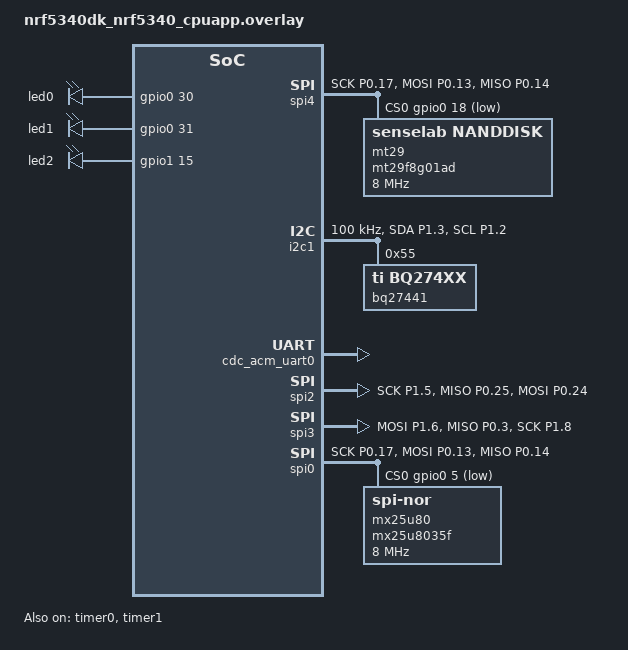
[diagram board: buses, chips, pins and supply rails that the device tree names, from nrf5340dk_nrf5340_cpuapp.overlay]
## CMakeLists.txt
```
# SPDX-License-Identifier: Apache-2.0

# This is a general purpose project created from MotionSenseHRV to be used for data collection.

# Ohio State SENSE LAB
cmake_minimum_required(VERSION 3.20.0)

# Preserve direct (non-sysbuild) configuration as well. Sysbuild receives the
# same repository board root from sysbuild/CMakeLists.txt before child images
# are configured.
list(APPEND BOARD_ROOT "${CMAKE_CURRENT_SOURCE_DIR}/..")

list(APPEND ZEPHYR_EXTRA_MODULES "${CMAKE_CURRENT_SOURCE_DIR}/../shared")


find_package(Zephyr REQUIRED HINTS $ENV{ZEPHYR_BASE})
project(PPGv2)

preprocess_pm_yml(
	"${CMAKE_CURRENT_SOURCE_DIR}/pm.yml"
	"${CMAKE_CURRENT_BINARY_DIR}/pm.yml.msense_fatal_retention"
)

include("${ZEPHYR_MSENSE_SHARED_MODULE_DIR}/cmake/msense_git_metadata.cmake")
msense_add_git_metadata("${CMAKE_CURRENT_SOURCE_DIR}")

include(CTest)
if(BUILD_TESTING)
	add_test(
		NAME msense_storage_geometry
		COMMAND ${CMAKE_COMMAND}
			"-DMSENSE_SOURCE_ROOT=${CMAKE_CURRENT_SOURCE_DIR}/.."
			-P "${CMAKE_CURRENT_SOURCE_DIR}/../shared/tests/cmake/test_storage_geometry.cmake"
	)
	add_test(
		NAME msense_sensor_stream_geometry
		COMMAND ${CMAKE_COMMAND}
			"-DMSENSE_SOURCE_ROOT=${CMAKE_CURRENT_SOURCE_DIR}/.."
			-P "${CMAKE_CURRENT_SOURCE_DIR}/../shared/tests/cmake/test_sensor_stream_geometry.cmake"
	)
	add_test(
		NAME msense_phase4_contracts
		COMMAND ${CMAKE_COMMAND}
			"-DMSENSE_SOURCE_ROOT=${CMAKE_CURRENT_SOURCE_DIR}/.."
			"-DMSENSE_PRODUCT=PPGv2"
			"-DMSENSE_APP_BUILD_DIR=${CMAKE_CURRENT_BINARY_DIR}"
			-P "${CMAKE_CURRENT_SOURCE_DIR}/../shared/tests/cmake/test_phase4_contracts.cmake"
	)
endif()

set(CMAKE_OBJECT_PATH_MAX 380)
if((NOT CONFIG_DISK_DRIVER_FLASH) AND
   (NOT CONFIG_DISK_DRIVER_RAM) AND
   (NOT CONFIG_DISK_DRIVER_SDMMC))
	message(WARNING "No disk access settings detected." )
endif()
target_compile_options(app PRIVATE -Wno-unused-function)

target_include_directories(app PRIVATE
	"${ZEPHYR_MSENSE_SHARED_MODULE_DIR}/include"
	"${ZEPHYR_MSENSE_SHARED_MODULE_DIR}/drivers/nand"
	"${ZEPHYR_MSENSE_SHARED_MODULE_DIR}/drivers/nor"
)

target_sources(app PRIVATE
	src/BLEService.c
	src/batterymonitordt.c
	src/filesystemlogging_policy.c
	src/imuSensor.c
	src/main.c
	src/ppgSensor.c
	src/zephyrfilesystem.c
	../shared/fatal_retention.c
)

#if(CONFIG_BUILD_WITH_TFM)
#  target_include_directories(app PRIVATE
#    $<TARGET_PROPERTY:tfm,TFM_BINARY_DIR>/install/interface/include
#  )
#endif()
```

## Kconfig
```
# Copyright (c) 2019-2020 Nordic Semiconductor ASA
# SPDX-License-Identifier: Apache-2.0

config APP_WIPE_STORAGE
	bool "Option to clear the flash area before mounting"
	help
	  Use this to force an existing file system to be created.

choice
	prompt "Storage and file system type used by the application"
	default APP_MSC_STORAGE_NONE
	help
	  Specify the type of storage and file system.

config APP_MSC_STORAGE_NONE
	bool "Use RAM disk as block device"
	imply DISK_DRIVER_RAM

config APP_MSC_STORAGE_RAM
	bool "Use RAM disk and FAT file system"
	imply DISK_DRIVER_RAM
	imply FILE_SYSTEM
	imply FAT_FILESYSTEM_ELM

config APP_MSC_STORAGE_FLASH_FATFS
	bool "Use FLASH disk and FAT file system"
	imply DISK_DRIVER_FLASH
	imply FILE_SYSTEM
	imply FAT_FILESYSTEM_ELM

config APP_MSC_STORAGE_FLASH_LITTLEFS
	bool "Use FLASH disk and LittleFS"
	imply DISK_DRIVER_FLASH
	imply FILE_SYSTEM
	imply FILE_SYSTEM_LITTLEFS

config APP_MSC_STORAGE_SDCARD
	bool "Use SDHC and FAT file system"
	imply DISK_DRIVER_SDMMC
	imply FILE_SYSTEM
	imply FAT_FILESYSTEM_ELM

endchoice


config MASS_STORAGE_DISK_NAME
	default "MX25R64" if DISK_DRIVER_FLASH
	default "RAM" if DISK_DRIVER_RAM
	default "SD" if DISK_DRIVER_SDMMC

if DISK_DRIVER_FLASH

config FLASH_MAP
	default y

config FLASH_PAGE_LAYOUT
	default y

config FLASH_LOG_LEVEL
	default 3

if NORDIC_QSPI_NOR

config NORDIC_QSPI_NOR_FLASH_LAYOUT_PAGE_SIZE
	default 4096

endif # NORDIC_QSPI_NOR

endif # DISK_DRIVER_FLASH

config MSENSE3_BLUETOOTH_DATA_UPDATES
	bool "Use MotionSenseHRV3Updates"
	default n
	help 
		Enables the Previous MSense3 mode of data collection, which starts collection as soon as the device connects to usb
		and sends data all through bluetooth
		


menuconfig COLLECTION_REQUIRES_DATE_ID
	bool "Allows sensor collection only if the date time and id characteristics have been filled out by the central."
	default n


config USB_ALWAYS_ON
	bool "whether the usb mass storage driver is on during bluetooth collection"
	default n
	help
		Normally, when data collection starts the USB module turns off, preventing the user from being able to read the drive 
		while data collection is taking place. This KConfig disables this, allowing users to always see logs

config USB_WRITABLE
	bool "whether one can write or modify files via USB"
	default n
	help 
		If the device is plugged in via USB and this KConfig is not set, Users will not be able to create or write new files
		(they can still read them).
		for this to truly work, we must be using a file system driver that supports reading and writing, 
		like flash area (NOR) or dhara (NAND)

config MSENSE_USB_SECURITY
	bool "Configures USB security mode, which requires a password in order to enable to usb behavior. Not Currently Implemented."
	default n

config LOG_BACKEND_FS_BUFFER
    bool "file buffered log backend"
    depends on LOG
    select LOG_OUTPUT
    help
      When enabled, the double buffered filesystem backend (normally for ppg and accel) will be used for logging.


config LOG_LEVEL_IMU_COLLECTION
	int "level at which data from imu is printed in logs"
	default 3

config LOG_LEVEL_PPG_COLLECTION
	int "level at which data from ppg is printed in logs"
	default 3

source "Kconfig.zephyr"
```

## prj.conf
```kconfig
#CONFIG_NCS_SAMPLES_DEFAULTS=y

CONFIG_STDOUT_CONSOLE=y

# deprecated:
#CONFIG_CPLUSPLUS=y
#CONFIG_STD_CPP11=y
#CONFIG_NEWLIB_LIBC=y
#CONFIG_LIB_CPLUSPLUS=y

#CONFIG_DEBUG=n
CONFIG_DEBUG_OPTIMIZATIONS=n
#CONFIG_SIZE_OPTIMIZATIONS=y
#CONFIG_SPEED_OPTIMIZATIONS=y

# These KConfigs will dump the entire core into the logs. Useful for debugging a crash.
#CONFIG_DEBUG_COREDUMP=y
#CONFIG_DEBUG_COREDUMP_BACKEND_LOGGING=y
CONFIG_DEBUG_INFO=y
CONFIG_EXCEPTION_STACK_TRACE=y
CONFIG_RESET_ON_FATAL_ERROR=y

#Log config
CONFIG_LOG=y
CONFIG_LOG_DEFAULT_LEVEL=2
# LOG_MODE_MIMIMAL Processes logs in the thread that they are in.
CONFIG_LOG_MODE_MINIMAL=n
#CONFIG_LOG_MODE_DEFERRED=n
#CONFIG_LOG_MODE_IMMEDIATE=n
# this makes prink messages go through the LOG system.
CONFIG_LOG_PRINTK=y
# typically logging is seperate from printk, so this just let's printk output go to console.
CONFIG_PRINTK=y
CONFIG_LOG_MAX_LEVEL=4
# Additional Logging Settings
# this makes the logs have color according to their condition in the serial monitor or terminal.
# so, errors are red, and warnings are yellow.
# in the filesystem, you will need to have an ascii color text processor, otherwise you will see unknown characters and no colors.
CONFIG_LOG_BACKEND_SHOW_COLOR=n
# if we using the deffered log proessing, we have these options avalible:
# LOG_MODE_DEFFERED auto turns this on. deffered mode makes the logs go to a seperate thread instead, which we currently use.
CONFIG_LOG_PROCESS_THREAD=y
#CONFIG_LOG_PROCESS_THREAD_CUSTOM_PRIORITY=
# we need this since our usb takes a few seconds to initialize, and so we miss messages if we don't do a late log startup.
CONFIG_LOG_PROCESS_THREAD_STARTUP_DELAY_MS=8000
#CONFIG_LOG_PROCESS_TRIGGER_THRESHOLD=0
# THREAD_SLEEP_MS is how long the logging thread will periodically sleep after processing messages. 
CONFIG_LOG_PROCESS_THREAD_SLEEP_MS=4000
CONFIG_LOG_PROCESS_THREAD_STACK_SIZE=4096
# Reserve 16 KiB for logging and 2 KiB each for USB CDC RX and TX.
CONFIG_LOG_BUFFER_SIZE=16384
CONFIG_USB_CDC_ACM_RINGBUF_SIZE=2048
CONFIG_SEGGER_RTT_BUFFER_SIZE_UP=4096

# Custom Config we created to allow the usb to remain on even when data is collecting, so that we can see the logs. Without this we can't 
#see logs through USB.
CONFIG_USB_ALWAYS_ON=y

CONFIG_NRFX_RTC0=y

# The thread analyser is a cool logging tool that shows how full stacks are for running threads. It can be used to detect stack overflow errors.
CONFIG_THREAD_ANALYZER=y
CONFIG_THREAD_ANALYZER_USE_LOG=y
CONFIG_THREAD_ANALYZER_AUTO=y
CONFIG_THREAD_ANALYZER_AUTO_INTERVAL=10
CONFIG_THREAD_NAME=y
CONFIG_THREAD_MONITOR=y

# when working with the MSense Devices, the only debugging tool we have is the SEGGER_RTT and USB debug output. 
# We have a USB, but we have to set it up via CDC UART (CDC is a usb communication protocol) on device tree
# at the moment, it appears Segger RTT is required even for UART Console output.
CONFIG_USE_SEGGER_RTT=y
# LOG_BACKEND makes the logging avalible, while the CONSOLE option makes command output
CONFIG_LOG_BACKEND_RTT=y
CONFIG_RTT_CONSOLE=n
# Shell also allows commands to be sent
CONFIG_SHELL=n

#Outputs log through usb
CONFIG_LOG_BACKEND_UART=y
# same here, UART_CONSOLE allows commands to be sent while LOG_BACKEND_UART allows log messages to go out.
CONFIG_UART_CONSOLE=y

#CONFIG_RAM_CONSOLE=n

#CONFIG_LOG_BACKEND_FS=n
#CONFIG_LOG_BACKEND_FS_OUTPUT_CUSTOM=y

# Outputs log through USB
CONFIG_LOG_BACKEND_BLE=n
CONFIG_MSENSE_SENSOR_STREAM=y
CONFIG_MSENSE_SENSOR_STREAM_INGRESS_SLOTS=32
CONFIG_MSENSE_SENSOR_STREAM_INGRESS_RECORD_BYTES=16
# Custom MSense File Uploading that uses the double buffer system (zephyrfilesystem.c) to output
CONFIG_LOG_BACKEND_FS_BUFFER=y

# Our MSense boards don't have a DCDC on them. This is necessary for the boards to function, or else they will brick!
#CONFIG_BOARD_ENABLE_DCDC_APP=n
#CONFIG_BOARD_ENABLE_DCDC_NET=n

# Oscillator capacitor and bypass configuration is physical-board ownership.
# boards/senselab/ppgv2 supplies it to the application, MCUboot, and HCI IPC
# images through the custom board defconfigs.


#Gpio Config
CONFIG_GPIO=y

# SPI Config
CONFIG_SPI=y
# we don't have any qspi periperals at the moment, everything is spi.
#CONFIG_NRFX_QSPI=y

#I2C config
CONFIG_I2C=y

# Generic Sensor Drivers that includes the battery monitor sensor.
CONFIG_SENSOR=y



# CMSIS config, which is a DSP and Math library
CONFIG_CMSIS_DSP=y
CONFIG_CMSIS_DSP_BASICMATH=y
CONFIG_CMSIS_DSP_COMPLEXMATH=n
CONFIG_CMSIS_DSP_CONTROLLER=n
CONFIG_CMSIS_DSP_DISTANCE=n
CONFIG_CMSIS_DSP_FASTMATH=y
CONFIG_CMSIS_DSP_FILTERING=y
CONFIG_CMSIS_DSP_MATRIX=y
CONFIG_CMSIS_DSP_STATISTICS=y
CONFIG_CMSIS_DSP_TRANSFORM=n
CONFIG_CMSIS_DSP_SUPPORT=y

# timer config
CONFIG_NRFX_TIMER0=y
CONFIG_NRFX_TIMER1=y

#FPU config
CONFIG_FPU=y
CONFIG_FP_HARDABI=y


# The PPGv2 board supplies its own gpio-leds nodes and has no user button.



# Enable bluetooth and bonding
CONFIG_BT=y

#CONFIG_BT_BONDABLE=y
#CONFIG_BT_BONDING_REQUIRED=y


CONFIG_BT_DEVICE_APPEARANCE=833

CONFIG_BT_MAX_CONN=1



CONFIG_BT_PERIPHERAL=y
#CONFIG_BT_GAP_PERIPHERAL_PREF_PARAMS=y
# in BLE the host typically sets the minimum and maximum connection interval with which packets must be sent. 
# however, the client can still request preferred parameters and the host can decide if it wants to accept them.
CONFIG_BT_PERIPHERAL_PREF_MAX_INT=48
CONFIG_BT_PERIPHERAL_PREF_MIN_INT=24
CONFIG_BT_PERIPHERAL_PREF_LATENCY=3
# Units are 10 ms: 800 = 8 s, compliant with current Apple 6-18 s guidance (ADG section 55.6).
CONFIG_BT_PERIPHERAL_PREF_TIMEOUT=800
CONFIG_BT_DEVICE_NAME="MSense4PPG-"
CONFIG_BT_DEVICE_NAME_DYNAMIC=y
CONFIG_BT_DEVICE_NAME_MAX=16
CONFIG_BT_DEVICE_NAME_GATT_WRITABLE=n
CONFIG_HWINFO=y
CONFIG_CRC=y



#CONFIG_BT_CTLR=y
#CONFIG_BT_CTLR_TX_PWR_ANTENNA=-8
#CONFIG_BT_CTLR_TX_PWR_MINUS_40=y

# for now, we don't use security, but we can re-enable if we want it.
CONFIG_BT_SMP=n

# Enable device information service for bluetooth
CONFIG_BT_DIS=y
CONFIG_BT_DIS_MANUF="SenseLab"
CONFIG_BT_DIS_PNP=n
CONFIG_BT_DIS_MODEL="5.1.4 UProd"
CONFIG_BT_DIS_SETTINGS=n
CONFIG_BT_MAX_PAIRED=1

# Enable Battery service settings
CONFIG_BT_BAS=y



 

# I belive we do this because the flash reset function has a lot of stack usage.
CONFIG_BT_RX_STACK_SIZE=8192



#DFU/FOTA settings
CONFIG_BOOTLOADER_MCUBOOT=y

CONFIG_NCS_SAMPLE_MCUMGR_BT_OTA_DFU=y
#CONFIG_MCUBOOT_GENERATE_CONFIRMED_IMAGE=y


#CONFIG_MCUMGR_LOG_LEVEL_DBG=n
#CONFIG_MCUMGR_SMP_BT_AUTHEN=n

# For saving settings of bluetooth and other variables, turned off as there are currently issues getting it to work
#CONFIG_BT_SETTINGS=y
#CONFIG_SETTINGS_RUNTIME=y
#CONFIG_SETTINGS_NVS=y
#CONFIG_NVS=y

#CONFIG_SETTINGS_NONE=y

# not sure what this is
#CONFIG_MPU_ALLOW_FLASH_WRITE=y



CONFIG_TEST_RANDOM_GENERATOR=y
CONFIG_TIMER_RANDOM_GENERATOR=y


# Flash Driver Config
# CRC library, used to sanity check the file table stored on the NOR
CONFIG_CRC=y
CONFIG_SPI_NOR=y
CONFIG_FLASH=y
# QSPI Driver for QSPI Nor Flash. No longer used as we use NAND for storage.
CONFIG_NORDIC_QSPI_NOR=n
CONFIG_FLASH_MAP=y
CONFIG_FLASH_PAGE_LAYOUT=y
CONFIG_FLASH_LOG_LEVEL_INF=y
#CONFIG_SPI_NOR_FLASH_LAYOUT_PAGE_SIZE=4096

# Partition Manager Config

CONFIG_PM_EXTERNAL_FLASH_MCUBOOT_SECONDARY=n

# Disk Driver Config
CONFIG_DISK_DRIVER_FLASH=n
CONFIG_DISK_DRIVER_RAM=n
CONFIG_DISK_DRIVER_RAW_NAND=y
CONFIG_DISK_DRIVER_DHARA=n

CONFIG_RAW_NAND_BAD_SECTOR_SAVING=n

# File System Config
CONFIG_FILE_SYSTEM=y
# needed because of our BT DFU external flash image which forces us to use partition manager.
CONFIG_PM_OVERRIDE_EXTERNAL_DRIVER_CHECK=y
CONFIG_MASS_STORAGE_DISK_NAME="SD"
#CONFIG_FILE_SYSTEM_LITTLEFS=y
# ELM Chan's fat filesystem library
CONFIG_FAT_FILESYSTEM_ELM=y
# we implement this dynamically by remounting the file system as read only.
CONFIG_FS_FATFS_READ_ONLY=n

# below config is necessary because this determines the buffer fatfs internally uses to store reads which we do at a size of 4096
CONFIG_FS_FATFS_MAX_SS=4096
CONFIG_FS_FATFS_EXFAT=n
CONFIG_FS_FATFS_MAX_ROOT_ENTRIES=4096
CONFIG_FS_FATFS_LFN=y

# we no longer use little fs since there is no built in computer file system support on USB mass.
#CONFIG_FS_LITTLEFS_CACHE_SIZE=128
#CONFIG_FS_LITTLEFS_READ_SIZE=16
#CONFIG_FS_LITTLEFS_PROG_SIZE=16




#USB related configs
CONFIG_USB_DEVICE_STACK=y
CONFIG_USB_DEVICE_PRODUCT="MSense4 USB Mass"
CONFIG_USB_DEVICE_PID=0x0008
CONFIG_USB_MASS_STORAGE=y

CONFIG_USB_MAX_POWER=100
# Keep USB control-transfer chatter out of normal operation logs.
CONFIG_USB_DEVICE_LOG_LEVEL_ERR=y
# this log handles where the usb mass throws errors.
CONFIG_USB_MASS_STORAGE_LOG_LEVEL_ERR=y

CONFIG_USB_DEVICE_INITIALIZE_AT_BOOT=n
CONFIG_MASS_STORAGE_STACK_SIZE=4096


# Previous method of data gathering, where data from sensors is sent through bluetooth instead of the file system.
CONFIG_MSENSE3_BLUETOOTH_DATA_UPDATES=n

CONFIG_MSENSE_USB_SECURITY=n

# IMU and PPG logs
CONFIG_LOG_LEVEL_IMU_COLLECTION=3
CONFIG_LOG_LEVEL_PPG_COLLECTION=3


# General System Memory and stack Configs
CONFIG_SYSTEM_WORKQUEUE_STACK_SIZE=20192
CONFIG_SYSTEM_WORKQUEUE_PRIORITY=-5
#CONFIG_SYSTEM_WORKQUEUE_NO_YIELD=y

CONFIG_HEAP_MEM_POOL_SIZE=5384
CONFIG_MAIN_STACK_SIZE=20192
```

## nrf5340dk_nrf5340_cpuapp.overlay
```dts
// press Ctrl+Space to bring up the completion menu and view the available nodes.

// You can also use the buttons in the sidebar to perform actions on nodes.
// Actions currently available include:

// * Enabling / disabling the node
// * Adding the bus to a bus
// * Removing the node
// * Connecting ADC channels

// For more help, browse the DeviceTree documentation at https://docs.zephyrproject.org/latest/guides/dts/index.html
// You can also visit the nRF DeviceTree extension documentation at https://nrfconnect.github.io/vscode-nrf-connect/devicetree/nrfdevicetree.html
//#include <zephyr/dt-bindings/regulator/nrf5x.h>
/* Force the main regulator (VREGMAIN) to use LDO mode */
/*
 * &reg1 {
 * regulator-initial-mode = <NRF5X_REG_MODE_LDO>;
 * };
 * &reg0 {
 * regulator-initial-mode = <NRF5X_REG_MODE_LDO>;
 * };
 */
/* Begin dk trim section, that removes all dev kit specific nodes. */

/* Since this code is executed in the bootloader phase, we actually need to enable it (copy and past
e this exact code) in MCUBoot as well. See sysbuild/mcuboot.overlay for more details. */
&vregmain {
	regulator-initial-mode = <NRF5X_REG_MODE_LDO>;
};

&vregradio {
	regulator-initial-mode = <NRF5X_REG_MODE_LDO>;
};

&vregh {
	status = "disabled";
};


&uicr {
    nfct-pins-as-gpios;
};



&spi1 {
	status = "disabled";
};

&spi4 {
	status = "disabled";
};

&qspi {
	status = "disabled";
};

&uart0 {
	status = "okay";
};

&i2c1 {
	status = "disabled";
};

&pwm0 {
	status = "disabled";
};

&led0 {
	status = "okay";
	gpios = <&gpio0 30 GPIO_ACTIVE_HIGH>;
};

&led1 {
	status = "okay";
	gpios = <&gpio0 31 GPIO_ACTIVE_HIGH>;
};

&led2 {
	status = "okay";
	gpios = <&gpio1 15 GPIO_ACTIVE_HIGH>;
};

&led3 {
	status = "disabled";
};

&button0 {
	status = "disabled";
};

&button1 {
	status = "disabled";
};

&button2 {
	status = "disabled";
};

&button3 {
	status = "disabled";
};

&gpio_fwd {
	status = "okay";
};

/* End dev kit trim section */

&timer0 {
	status = "okay";
};

&timer1 {
	status = "okay";
};

&arduino_adc {
	io-channel-map = <0 &adc 0>, <1 &adc 1>, <2 &adc 2>, <3 &adc 3>, <4 &adc 4>, <5 &adc 5>;
};

/ {
	aliases {
		customspi = &spi1;
		spi-flash0 = &mt29;
		spi-flash1 = &mx25u80;
	};
};

/ {
	chosen {

		//nordic,pm-ext-flash = &mt29;
		zephyr,console = &cdc_acm_uart0;
		zephyr,shell-uart = &cdc_acm_uart0;
	};
};
///delete-node/ &storage_partition;

//uart cannot also be in operation with spi0, however, this means we have to use segger RTT, because uart is used for console output
&uart0 {
	status = "disabled";
};

&zephyr_udc0 {
	cdc_acm_uart0: cdc_acm_uart0 {
		compatible = "zephyr,cdc-acm-uart";
	};
};

&spi2 {
	compatible = "nordic,nrf-spim";
	status = "okay";
	cs-gpios = <&gpio0 26 GPIO_ACTIVE_LOW>;
	pinctrl-0 = <&spi1_default>;
	pinctrl-1 = <&spi1_sleep>;
	pinctrl-names = "default", "sleep";
};

// We need to disable i2c1, since we are already using spi1 and it is no longer needed (can't have 2 devices on the same unit).
&i2c1 {
	compatible = "nordic,nrf-twim";
	status = "okay";

	/* The bq27441-G1 requires 1-byte writes above 100 kHz. */
	clock-frequency = <I2C_BITRATE_STANDARD>;

	pinctrl-0 = <&battery_default>;
	pinctrl-1 = <&battery_sleep>;
	pinctrl-names = "default", "sleep";

	bq27441@55 {
		compatible = "ti,bq274xx";
		reg = <0x55>;
		design-voltage = <3700>;
		design-capacity = <300>;
		/* Above the bq25060's 25.2 mA worst-case termination threshold with a 5.9-kOhm ISET resistor. */
		taper-current = <30>;
		terminate-voltage = <3000>;
		chemistry-id = <0x0128>; /* bq27441-G1A, LiCoO2, 4.2-V maximum charge */
	};
};
/*
 * &i2c0 {
 * status = "okay";
 * compatible = "nordic,nrf-twim";
 * pinctrl-0 = < &i2c1_default>;
 * pinctrl-1 = <&i2c1_sleep>;
 * pinctrl-names = "default", "sleep";
 * };
 */

&spi3 {
	compatible = "nordic,nrf-spim";
	status = "okay";
	cs-gpios = <&gpio1 9 GPIO_ACTIVE_LOW>;
	pinctrl-0 = <&ppg_default>;
	pinctrl-1 = <&ppg_sleep>;
	pinctrl-names = "default", "sleep";
};
//External Flash, MX25 NOR

&spi0 {
	status = "okay";
	pinctrl-0 = <&spi_flash_default>;
	pinctrl-1 = <&spi_flash_sleep>;
	pinctrl-names = "default", "sleep";
	cs-gpios = <&gpio0 5 GPIO_ACTIVE_LOW>;

	mx25u80: mx25u8035f@0 {
		compatible = "jedec,spi-nor";
		// size needs to be in bits for nor
		//size = <1073725440>;
		size = <8388608>;
		reg = <0>;
		spi-max-frequency = <8000000>;
		jedec-id = [c2 25 34];
		status = "okay";
	};
};
// External Flash, MT29 NAND

&spi4 {
	status = "okay";
	pinctrl-0 = <&spi_flash_default>;
	pinctrl-1 = <&spi_flash_sleep>;
	pinctrl-names = "default", "sleep";
	// You will also need to set these pins in the spi_nand.c too
	cs-gpios = <&gpio0 18 GPIO_ACTIVE_LOW>, <&gpio0 4 GPIO_ACTIVE_LOW>,
		   <&gpio0 21 GPIO_ACTIVE_LOW>, <&gpio0 19 GPIO_ACTIVE_LOW>;

	mt29: mt29f8g01ad@0 {
		compatible = "senselab,nanddisk";
		// size parameter needs to be in bytes
		// 4294901760 bytes is aproximately 4 GB. Updated from 2147450880 bytes (1.99 GB)
		size = <4294901760>;
		individual-size = <1073725440>;
		num-flashchips = <4>;
		reg = <0>;
		spi-max-frequency = <8000000>;
		jedec-id = [ff 2c 47];
		status = "okay";
	};
};
/*
 * &qspi {
 * status = "okay";
 * pinctrl-0 = <&qspi_default>;
 * pinctrl-1 = <&qspi_sleep>;
 * pinctrl-names = "default", "sleep";
 * mx66u: mx66u2g45g@0 {
 * compatible = "nordic,qspi-nor";
 * //compatible = "vnd,customflash";
 * //compatible = "senselab,qspinor";
 * reg = <0>;
 * //MX25R64 supports only pp and pp4io
 * writeoc = "pp4io";
 * //MX25R64 supports all readoc options
 * readoc = "read4io";
 * sck-frequency = <8000000>;
 * jedec-id = [c2 25 3c];
 * sfdp-bfp = [
 * e5 20 f1 ff  ff ff ff 03  44 eb 08 6b  08 3b 04 bb
 * ee ff ff ff  ff ff 00 ff  ff ff 00 ff  0c 20 0f 52
 * 10 d8 00 ff  23 72 f5 00  82 ed 04 cc  44 83 68 44
 * 30 b0 30 b0  f7 c4 d5 5c  00 be 29 ff  f0 d0 ff ff
 * ];
 * size = <67108864>;
 * has-dpd;
 * t-enter-dpd = <10000>;
 * t-exit-dpd = <35000>;
 * };
 * };
 */

&pinctrl {
	//spi 1, imu sensor
	spi1_default: spi1_default {
		group1 {
			psels = <NRF_PSEL(SPIM_SCK, 1, 5)>,
				<NRF_PSEL(SPIM_MISO, 0, 25)>,
				<NRF_PSEL(SPIM_MOSI, 0, 24)>;
		};
	};

	spi1_sleep: spi1_sleep {
		group1 {
			psels = <NRF_PSEL(SPIM_SCK, 1, 5)>,
				<NRF_PSEL(SPIM_MISO, 0, 25)>,
				<NRF_PSEL(SPIM_MOSI, 0, 24)>;
			low-power-enable;
		};
	};

	//spi 4, ppg sensor
	ppg_default: ppg_default {
		group1 {
			psels = <NRF_PSEL(SPIM_MOSI, 1, 6)>, <NRF_PSEL(SPIM_MISO, 0, 3)>,
				<NRF_PSEL(SPIM_SCK, 1, 8)>;
		};
	};

	ppg_sleep: ppg_sleep {
		group1 {
			psels = <NRF_PSEL(SPIM_MOSI, 1, 6)>, <NRF_PSEL(SPIM_MISO, 0, 3)>,
				<NRF_PSEL(SPIM_SCK, 1, 8)>;
			low-power-enable;
		};
	};

	//battery, on i2c0
	battery_default: battery_default {
		group1 {
			psels = <NRF_PSEL(TWIM_SDA, 1, 3)>,
				<NRF_PSEL(TWIM_SCL, 1, 2)>;
		};
	};

	battery_sleep: battery_sleep {
		group1 {
			psels = <NRF_PSEL(TWIM_SDA, 1, 3)>,
				<NRF_PSEL(TWIM_SCL, 1, 2)>;
			low-power-enable;
		};
	};

	spi_flash_default: spi_flash_default {
		group1 {
			psels = <NRF_PSEL(SPIM_SCK, 0, 17)>,
				<NRF_PSEL(SPIM_MOSI, 0, 13)>,
				<NRF_PSEL(SPIM_MISO, 0, 14)>;
		};
	};

	spi_flash_sleep: spi_flash_sleep {
		group1 {
			psels = <NRF_PSEL(SPIM_SCK, 0, 17)>,
				<NRF_PSEL(SPIM_MOSI, 0, 13)>,
				<NRF_PSEL(SPIM_MISO, 0, 14)>;
			low-power-enable;
		};
	};
};
```

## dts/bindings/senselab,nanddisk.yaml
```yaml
description: |
  Zephyr MMC disk node. A binding with this compatible present within an SD
  host controller device node indicates that an SDMMC disk is attached to that
  SD bus. This binding will enable that disk to be used with the disk driver
  API and any subsystems that utilize it.

compatible: "senselab,nanddisk"

include: ["spi-device.yaml", "jedec,spi-nor-common.yaml"]

properties:
  reg:
    required: true

  jedec-id:
    required: true

  size:
    type: int
    description: |
      The size of the flash in bytes.
  
  individual-size:
    type: int
    description: |
      The number of total flashes for the multi-flash driver. Used to calculate the full size of the flash. 

  num-flashchips:
    type: int
    description: |
      How many total flashes chips are in the system. 
```

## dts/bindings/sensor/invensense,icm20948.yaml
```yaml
# SPDX-License-Identifier: Apache-2.0

description: |
  ICM-20948 SPI interface on the MotionSense PPG PCB. The retained PPGv2
  driver accesses the SPI bus directly; this binding records the hardware
  contract without enabling a competing sensor driver.

compatible: "invensense,icm20948"

include: spi-device.yaml

properties:
  int-gpios:
    type: phandle-array
    required: true
    description: ICM-20948 INT1 data-ready signal.

  fsync-gpios:
    type: phandle-array
    required: true
    description: ICM-20948 FSYNC signal driven by the host.
```

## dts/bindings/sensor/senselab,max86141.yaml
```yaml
# SPDX-License-Identifier: Apache-2.0

description: |
  MAX86141 optical sensor connected to SPI. PPGv2 retains its existing direct
  transport implementation, so this binding describes the device without
  selecting a separate Zephyr sensor driver.

compatible: "senselab,max86141"

include: spi-device.yaml
```

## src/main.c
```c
/*
 * Copyright (c) 2016 Intel Corporation
 *
 * SPDX-License-Identifier: Apache-2.0
 */

#include <zephyr/kernel.h>
#include <zephyr/devicetree.h>
#include <zephyr/drivers/gpio.h>
#include <zephyr/drivers/spi.h>
#include <zephyr/drivers/i2c.h>
#include <zephyr/drivers/sensor.h>
#include <nrfx.h>
#include <nrfx_timer.h>
#include <nrfx_uarte.h>
#include <helpers/nrfx_reset_reason.h>
#include <zephyr/logging/log.h>
#include <zephyr/usb/usb_device.h>
#include "batterymonitordt.h"
#include "ppgSensor.h"
#include "imuSensor.h"
#include "common.h"
#include "BLEService.h"
#include "msense_device_identity.h"
#include "msense_sensor_stream.h"
#include "msense_git_metadata.h"
#include "msense_fatal_retention.h"
#include "zephyrfilesystem.h"
#include "msense_msc_media.h"
#if CONFIG_DISK_DRIVER_RAW_NAND
#include "nand_disk.h"
#endif
#include <zephyr/shell/shell.h>
#include <zephyr/bluetooth/bluetooth.h>
#include <zephyr/bluetooth/hci.h>
#include <zephyr/bluetooth/uuid.h>
#include <errno.h>
#include <string.h>




LOG_MODULE_REGISTER(main);

BUILD_ASSERT(IS_ENABLED(CONFIG_USB_MASS_STORAGE),
	     "PPGv2 requires legacy USB MSC support");



/* 1000 msec = 1 sec */
#define SLEEP_TIME_MS 6000
#define BATTERY_LOG_INTERVAL_MAINTENANCE_CYCLES 4U

/* The devicetree node identifier for the "led0" alias. */
#define LED_NODE DT_ALIAS(led0)
#define LED1_NODE DT_ALIAS(led1)
#define PPG_POWER_NODE DT_ALIAS(led2) 
#define IMU_NODE DT_ALIAS(imu)
#define PPG_NODE DT_ALIAS(ppg)
#define IMU_BUS_NODE DT_ALIAS(imu_bus)
#define PPG_BUS_NODE DT_ALIAS(ppg_bus)
#define BATTERY_GAUGE_NODE DT_ALIAS(battery_gauge)
#define BATTERY_BUS_NODE DT_ALIAS(battery_bus)
#define GPIO0_NODE DT_ALIAS(gpio0)
#define GPIO1_NODE DT_ALIAS(gpio1)

// define our red and green leds
#define LED_PIN DT_GPIO_PIN(LED_NODE, gpios)
#define LED1_PIN DT_GPIO_PIN(LED1_NODE, gpios)

#define LED_FLAGS DT_GPIO_FLAGS(LED0_NODE, gpios)



#define PPG_POWER_PIN DT_GPIO_PIN(PPG_POWER_NODE, gpios)
#define PPG_POWER_FLAGS DT_GPIO_FLAGS(PPG_POWER_NODE, gpios)

const struct device* gpio0_device;
const struct device* gpio1_device;


/* SPI Definitions */


/*
------------------------------------------------------------------------------------
SPI Mode    CPOL 	CPHA 	Clock Polarity  Clock Phase Used to
                                in Idle State 	Sample and/or Shift the Data
------------------------------------------------------------------------------------
0               0         0 	Logic low 	Data sampled on rising edge and
                                                shifted out on the falling edge
1               0         1 	Logic low 	Data sampled on the falling edge and
                                                shifted out on the rising edge
2               1         1 	Logic high 	Data sampled on the falling edge and
                                                shifted out on the rising edge
3               1         0 	Logic high 	Data sampled on the rising edge and
                                                shifted out on the falling edge
-------------------------------------------------------------------------------------
*/
// SPI Mode-3 IMU
struct spi_config spi_cfg_imu =
{
    .frequency = DT_PROP(IMU_NODE, spi_max_frequency),
    .operation = SPI_WORD_SET(8) | SPI_TRANSFER_MSB |
                 SPI_MODE_CPOL | SPI_MODE_CPHA,
    .slave = DT_REG_ADDR(IMU_NODE),
    .cs = SPI_CS_CONTROL_INIT(IMU_NODE, 0),
    };


// SPI Mode-3 PPG
struct spi_config spi_cfg_ppg = {
    .frequency = DT_PROP(PPG_NODE, spi_max_frequency),
    .operation = SPI_WORD_SET(8) | SPI_TRANSFER_MSB |
                 SPI_MODE_CPOL | SPI_MODE_CPHA,
    .slave = DT_REG_ADDR(PPG_NODE),
    .cs = SPI_CS_CONTROL_INIT(PPG_NODE, 0),
};




const struct device *spi_dev_ppg, *spi_dev_imu;
const struct device *i2c_dev;





#define DIS_FW_REV_STR CONFIG_BT_DIS_FW_REV_STR
#define DIS_FW_REV_STR_LEN (sizeof(DIS_FW_REV_STR))

#define DIS_HW_REV_STR CONFIG_BT_DIS_HW_REV_STR
#define DIS_HW_REV_STR_LEN (sizeof(DIS_HW_REV_STR))

#define DIS_MANUF CONFIG_BT_DIS_MANUF
#define DIS_MANUF_LEN (sizeof(DIS_MANUF))

#define DIS_MODEL CONFIG_BT_DIS_MODEL
#define DIS_MODEL_LEN (sizeof(DIS_MODEL))


static K_SEM_DEFINE(ble_init_ok, 0, 1);

uint32_t global_counter;

#define MSENSE_PRODUCT_BLE_NAME_PREFIX "MSense4PPG-"
#define MSENSE_PRODUCT_BLE_NAME_LEN 16U

static struct msense_device_identity device_identity;
static const struct msense_device_identity_config device_identity_config = {
	.ble_name_prefix = MSENSE_PRODUCT_BLE_NAME_PREFIX,
	.ble_name_prefix_len = sizeof(MSENSE_PRODUCT_BLE_NAME_PREFIX) - 1U,
	.ble_name_len = MSENSE_PRODUCT_BLE_NAME_LEN,
	.dis_model = CONFIG_BT_DIS_MODEL,
};

static int initialize_sensor_stream(void)
{
	const struct msense_sensor_stream_config config = {
		.device_type = MSENSE_SENSOR_STREAM_DEVICE_PPG,
		.record_size = MSENSE_SENSOR_STREAM_PPG_RECORD_SIZE,
		.history_record_count = MSENSE_SENSOR_STREAM_PPG_HISTORY_RECORDS,
		.forward_record_count = MSENSE_SENSOR_STREAM_PPG_FORWARD_RECORDS,
	};

	return msense_sensor_stream_init(&config);
}

#define AD_FIELD_OVERHEAD 2U
#define AD_FLAGS_ENCODED_LEN (AD_FIELD_OVERHEAD + 1U)
#define AD_SERVICE_DATA_LEN (BT_UUID_SIZE_128 + MSENSE_DEVICE_ID_LEN)
#define AD_SERVICE_DATA_ENCODED_LEN (AD_FIELD_OVERHEAD + AD_SERVICE_DATA_LEN)
#define SCAN_RESPONSE_NAME_ENCODED_LEN (AD_FIELD_OVERHEAD + MSENSE_PRODUCT_BLE_NAME_LEN)

static uint8_t advertising_service_data[AD_SERVICE_DATA_LEN] = {
    CONTROL_SERVICE_UUID,
};

static struct bt_data ad[] = {
    BT_DATA_BYTES(BT_DATA_FLAGS, (BT_LE_AD_GENERAL | BT_LE_AD_NO_BREDR)),
    BT_DATA(BT_DATA_SVC_DATA128, advertising_service_data,
            sizeof(advertising_service_data)),
};

static struct bt_data sd[] = {
    {
        .type = BT_DATA_NAME_COMPLETE,
        .data = NULL,
        .data_len = 0U,
    },
};

BUILD_ASSERT(MSENSE_DEVICE_ID_LEN == 8U, "Device ID must be 64 bits");
BUILD_ASSERT(sizeof(MSENSE_PRODUCT_BLE_NAME_PREFIX) - 1U +
		     MSENSE_DEVICE_NAME_SUFFIX_LEN == MSENSE_PRODUCT_BLE_NAME_LEN,
		     "BLE name prefix and suffix lengths must match");
BUILD_ASSERT(MSENSE_PRODUCT_BLE_NAME_LEN <= MSENSE_DEVICE_NAME_MAX_LEN,
		     "BLE name exceeds shared identity storage");
BUILD_ASSERT(sizeof(CONFIG_BT_DEVICE_NAME) == sizeof(MSENSE_PRODUCT_BLE_NAME_PREFIX),
		     "Configured BLE prefix length changed unexpectedly");
BUILD_ASSERT(sizeof(advertising_service_data) == 24U,
             "Service data must contain UUID and device ID");
BUILD_ASSERT(AD_FLAGS_ENCODED_LEN + AD_SERVICE_DATA_ENCODED_LEN <=
             BT_GAP_ADV_MAX_ADV_DATA_LEN,
             "Primary advertising data exceeds the legacy limit");
BUILD_ASSERT(SCAN_RESPONSE_NAME_ENCODED_LEN <= BT_GAP_ADV_MAX_ADV_DATA_LEN,
             "Scan response name exceeds the legacy limit");

static int shell_request_ppg_reboot(const struct shell *shell, size_t argc,
                                    char **argv)
{
  ARG_UNUSED(shell);
  ARG_UNUSED(argc);
  ARG_UNUSED(argv);
  return request_ppg_storage_reboot();
}

static int shell_request_ppg_full_reset(const struct shell *shell, size_t argc,
                                        char **argv)
{
  ARG_UNUSED(shell);
  ARG_UNUSED(argc);
  ARG_UNUSED(argv);
  return request_ppg_storage_reset(false);
}

// Shell Commands for entering in the terminal, in case a bluetooth command is not avalible.
SHELL_CMD_REGISTER(reset, NULL, "Queues a safe device reset", shell_request_ppg_reboot);
SHELL_CMD_REGISTER(full_reset, NULL, "Queues a safe storage erase and reset",
                   shell_request_ppg_full_reset);





// Setting up the device information service
static int settings_runtime_load(void)
{

/*
  settings_runtime_set("bt/dis/model",
                       DIS_MODEL, DIS_MODEL_LEN);
  settings_runtime_set("bt/dis/manuf",
                       DIS_MANUF, DIS_MANUF_LEN);
*/
  return 0;
}


void usb_status_cb(enum usb_dc_status_code status, const uint8_t *param){
	ARG_UNUSED(param);

	switch (status) {
	case USB_DC_CONNECTED:
		LOG_INF("USB connected");
		break;
	case USB_DC_CONFIGURED:
		LOG_INF("USB configured");
		break;
	case USB_DC_DISCONNECTED:
		LOG_INF("USB disconnected");
		break;
	case USB_DC_ERROR:
		LOG_ERR("USB controller error");
		break;
	default:
		break;
	}
}

static int enable_usb_msc_host_media(void)
{
	int claim_ret;
	int disable_ret;
	int ret;

	ret = usb_enable(usb_status_cb);
	if (ret != 0) {
		/* Boot-failure containment also covers an unprovable -EALREADY state. */
		disable_ret = usb_disable();
		if (disable_ret == 0) {
			ppg_collection_set_usb_msc_enabled(false);
		} else {
			ppg_collection_set_usb_msc_enabled(true);
			LOG_ERR("USB disable after enable failure returned %d", disable_ret);
		}
		return ret;
	}
	ppg_collection_set_usb_msc_enabled(true);

	ret = msense_msc_media_initialize_absent();
	if (ret != 0) {
		LOG_ERR("MSC safe initialization failed: %d", ret);
		goto disable_usb;
	}

	ret = msense_msc_media_publish_to_host();
	if (ret == 0) {
		return 0;
	}

	LOG_ERR("MSC host publication failed: %d", ret);
	claim_ret = msense_msc_media_claim_for_firmware();
	if (claim_ret == 0) {
		return ret;
	}
	LOG_ERR("MSC absence recovery failed: %d", claim_ret);

disable_usb:
	/* Do not leave the SDK's default writable MSC policy reachable on error. */
	disable_ret = usb_disable();
	if (disable_ret == 0) {
		ppg_collection_set_usb_msc_enabled(false);
	}
	if (disable_ret != 0) {
		LOG_ERR("USB disable after MSC failure returned %d", disable_ret);
	}
	return ret;
}

static void le_param_updated(struct bt_conn *conn, uint16_t interval, uint16_t latency, uint16_t timeout)
{
  struct bt_conn_info info;
  char addr[BT_ADDR_LE_STR_LEN];

  if (bt_conn_get_info(conn, &info))
    LOG_WRN("Could not parse connection info");
  else
  {
    bt_addr_le_to_str(bt_conn_get_dst(conn), addr, sizeof(addr));
    LOG_INF("Connection parameters updated: connected to %s, interval %u, "
            "latency %u, supervisory timeout %u",
            addr, info.le.interval, info.le.latency, info.le.timeout);
  }
}

static struct bt_conn_cb conn_callbacks = {
    .connected = connected,
    .disconnected = disconnected,
    //.le_param_req = le_param_req,
    .le_param_updated = le_param_updated};

static void bt_ready(int err)
{
  if (err)
  {
    LOG_ERR("BLE initialization callback failed: %d", err);
    ppg_collection_latch_storage_fault();
    return;
  }
  else
    LOG_INF("BLE initialized");

  #if CONFIG_BT_SETTINGS
    settings_load();
  #endif

  // Configure connection callbacks
  bt_conn_cb_register(&conn_callbacks);

  err = bt_set_name(msense_device_identity_name(&device_identity));
  if (err) {
    LOG_ERR("Unable to set generated BLE name: %d", err);
    ppg_collection_latch_storage_fault();
    return;
  }

  memcpy(&advertising_service_data[BT_UUID_SIZE_128],
         msense_device_identity_bytes(&device_identity), MSENSE_DEVICE_ID_LEN);
  sd[0].data = msense_device_identity_name(&device_identity);
  sd[0].data_len = msense_device_identity_name_len(&device_identity);

  // Start advertising
  const struct bt_le_adv_param v = {
      .id = BT_ID_DEFAULT,
      .sid = 0,
      .secondary_max_skip = 0,
      .options = BT_LE_ADV_OPT_CONNECTABLE | BT_LE_ADV_OPT_USE_IDENTITY,
      .interval_min = BT_GAP_ADV_FAST_INT_MIN_2,
      .interval_max = BT_GAP_ADV_FAST_INT_MAX_2,
      .peer = NULL};

  // if this doesn't work we can use
  /* 
  static struct bt_le_adv_param *adv_param = BT_LE_ADV_PARAM((BT_LE_ADV_OPT_CONNECTABLE|BT_LE_ADV_OPT_USE_IDENTITY), 
                800, //Min Advertising Interval 500ms (800*0.625ms) 
                801, //Max Advertising Interval 500.625ms (801*0.625ms)
                NULL); // Set to NULL for undirected advertising
  */
  err = bt_le_adv_start(&v, ad, ARRAY_SIZE(ad), sd, ARRAY_SIZE(sd));
  if (err) {
    LOG_ERR("BLE advertising failed to start: %d", err);
    ppg_collection_latch_storage_fault();
    return;
  }
  LOG_INF("BLE advertising started");

  k_sem_give(&ble_init_ok);

  ppg_collection_enable_runtime_transitions();
}

// Initialize BLE
static void ble_init(void)
{
  int err;

  
  err = bt_enable(bt_ready);
  if (err)
  {
    LOG_ERR("Unable to start BLE initialization: %d", err);
    ppg_collection_latch_storage_fault();
  }

  //err = bt_id_create(BT_ADDR_LE_ANY, NULL);
  if (!err)
    LOG_INF("BLE initialization started");
  else
  {
    LOG_ERR("BLE initialization did not start");
  }
}

// Timer handler that periodically executes commands with a period,
// which is defined by the macro-variable TIMER_MS
static void spi_init(void)
{
  
  // device_get_binding is used for runtime aquisition of a device object. We can still use it but we have to be carefull to select the right names
  const char *const spiName_imu = "spi@9000";
  const char *const spiName_ppg = "spi@c000";

  spi_dev_imu = DEVICE_DT_GET(IMU_BUS_NODE);
  spi_dev_ppg = DEVICE_DT_GET(PPG_BUS_NODE);
  // device_get_binding(spiName_imu);
  //spi_dev_ppg = device_get_binding(spiName_ppg);

  if (spi_dev_imu == NULL || !device_is_ready(spi_dev_imu))
  {
    LOG_ERR("Could not get %s", spiName_imu);
    return;
  }

  if (spi_dev_ppg == NULL || !device_is_ready(spi_dev_ppg))
  {
    LOG_ERR("Could not get %s", spiName_ppg);
    return;
  }
  
}

void spi_verify_sensor_ids()
{
  
  if (device_is_ready(spi_dev_imu))
  {
    getIMUID();
  }
  else
  {
    LOG_WRN("IMU not ready, setup avoided");
  }
  
  k_sleep(K_SECONDS(1));

  if (device_is_ready(spi_dev_ppg))
  {
    read_ppg_chip_id();
  }
  else
  {
    LOG_WRN("ppg not ready, setup was avoided");
  }
}

static void i2c_init(void)
{

  LOG_INF("I2C initialization started");
  i2c_dev = DEVICE_DT_GET(BATTERY_BUS_NODE);
  if (!device_is_ready(i2c_dev))
  {
    LOG_ERR("Battery I2C device is not ready");
    return;
  }
  // Previously we used to set values, but these are now set by device tree.
}



#define WORKQUEUE_PRIORITY 8
#define WORKQUEUE_STACK_SIZE 20048
K_THREAD_STACK_DEFINE(my_stack_area, WORKQUEUE_STACK_SIZE);



void battery_maintenance()
{
  static uint8_t maintenance_cycles;
  const struct device *const dev = DEVICE_DT_GET(BATTERY_GAUGE_NODE);
  bool log_summary = (maintenance_cycles % BATTERY_LOG_INTERVAL_MAINTENANCE_CYCLES) == 0U;

  maintenance_cycles++;
  dt_update_battery(dev, log_summary);
  
  //battery_lvl = bt_bas_get_battery_level();
  #ifndef CONFIG_MSENSE3_BLUETOOTH_DATA_UPDATES
  if (battery_level < 5){
    // if this is our first time
    if (!battery_low){
      battery_low = true;
      LOG_WRN("battery low, turning off file logs and data collection.");
      LOG_INF("logs and data collection will resume once battery is sufficiently charged (>15 percent)");
    }   
  }
  else if (battery_level > 15){
    if (battery_low){
    LOG_INF("resuming log after battery improved");
    }
    battery_low = false;
  } 

  if (collecting_data || host_wants_collection){
    request_ppg_collection_reconcile();
  }
  #endif
    
}



void blink_led(gpio_pin_t pin){
  gpio_pin_set(gpio0_device, pin, 1);
  k_sleep(K_MSEC(200));
  gpio_pin_set(gpio0_device, pin, 0);
}



void storage_clear_led(){
  gpio_pin_set(gpio0_device, LED1_PIN, 1);
}

int main(void)
{
	int identity_err;
	int ret;
	int stream_ret;
	int teardown_ret;
	int uuid_ret = 0;
	bool boot_storage_ready = false;
	uint32_t reset_reason = nrfx_reset_reason_get();

	/* RESETREAS is cumulative until acknowledged. Capture this boot's reason
	 * before clearing it, so the next boot is not reported with stale flags.
	 */
	nrfx_reset_reason_clear(reset_reason);

	LOG_WRN("Boot reset reason: 0x%08x", (unsigned int)reset_reason);
	LOG_INF("Starting application");
	msense_fatal_retention_report();
	msense_fatal_stage_set(MSENSE_FATAL_STAGE_BOOT);

	identity_err = msense_device_identity_init(&device_identity,
						   &device_identity_config);
	if (identity_err) {
		LOG_ERR("Unable to initialize factory device identity: %d", identity_err);
	} else {
		stream_ret = initialize_sensor_stream();
		if (stream_ret != 0) {
			LOG_ERR("Unable to initialize NUS sensor stream: %d", stream_ret);
		}
	}
  
  
  

  // Setup our Flash Filesystem
  ret = setup_disk();
  if (ret != 0) {
    LOG_ERR("Startup filesystem setup failed: %d", ret);
    #if CONFIG_DISK_DRIVER_RAW_NAND
    set_read_only(true);
    #endif
    return ret;
  }
  k_sleep(K_SECONDS(1));
  //create_test_files(400);
  #ifdef CONFIG_MSENSE_USB_SECURITY
    security_lock = true;
  #endif


  k_sleep(K_SECONDS(2));
  

  gpio0_device = DEVICE_DT_GET(GPIO0_NODE);
  gpio1_device = DEVICE_DT_GET(GPIO1_NODE);
  
  // Initialize our 2 LED pins and 5V PPG Power Pin
  ret = gpio_pin_configure(gpio0_device, LED_PIN, GPIO_OUTPUT_INACTIVE | LED_FLAGS);
  ret = gpio_pin_configure(gpio0_device, LED1_PIN, GPIO_OUTPUT_INACTIVE | LED_FLAGS);
  ret = gpio_pin_configure(gpio1_device, PPG_POWER_PIN, GPIO_OUTPUT_ACTIVE | PPG_POWER_FLAGS);
  // initialize imu ground pin
  ret = gpio_pin_configure(gpio0_device, 27, GPIO_OUTPUT_INACTIVE);
  if (ret < 0)
  {
    LOG_ERR("Failed to initialize application GPIOs: %d", ret);
    // return;
  }
  
  // Init, verify ID and config sensors
  
  spi_init();
  spi_verify_sensor_ids();

  i2c_init();

  // Shutdown our ppg and imu sensors until we need to get data from them
  ppg_sleep();
  motion_sleep();

  /*struct k_work_queue_config cfg = {
    .name = "my_custom_workq",
    .no_yield = false
  };*/

  // Start Threads for all our sensor tasks
  // This is the file system workqueue (workqueues are threads that process items in a queue), it processes uploading files to the filesystem. 
  k_work_queue_init(&my_work_q);
  k_work_queue_start(&my_work_q, my_stack_area,
                     K_THREAD_STACK_SIZEOF(my_stack_area), WORKQUEUE_PRIORITY, NULL);
  // Handles reading from the motion sensor and ppg sensor. This is the system workqueue, which zephyr creates by default
  // and is a different queue from the user created file system workqueue 
  k_work_init(&my_motionSensor.work, motion_data_timeout_handler);
  k_work_init(&my_ppgSensor.work, read_ppg_fifo_buffer);
  // sends enmo and accelerometer
  k_work_init(&my_motionData.work, motion_notify);
#ifdef CONFIG_MSENSE3_BLUETOOTH_DATA_UPDATES
  // These items all handle sending data across bluetooth

  k_work_init(&my_ppgDataSensor.work, ppgData_notify);
#endif

  // these are our file system workqueue objects
  k_work_init(&ppg_work_item.work, work_write);
  ppg_work_item.sensor = ppg;

  k_work_init(&accel_work_item.work, work_write);
  accel_work_item.sensor = accelorometer;
  
  k_work_init(&log_work_item.work, work_write);
  log_work_item.sensor = customlog;
  ppg_collection_set_filesystem_workqueue_ready();
  k_thread_name_set(&my_work_q.thread, "file_sys");
  const char *name = k_thread_name_get(&my_work_q.thread);
  LOG_INF("file workqueue thead: %s", name);
  ret = get_storage_percent_full();
  if (ret < 0) {
    LOG_ERR("Startup storage query failed: %d", ret);
  }

  if (identity_err == 0) {
    uuid_ret = write_device_info_file(msense_device_identity_name(&device_identity),
                                      msense_device_identity_hex(&device_identity),
                                      msense_device_identity_model(&device_identity));
    if (uuid_ret != 0) {
      LOG_ERR("Unable to write boot uuid.txt: %d", uuid_ret);
    }
  }

  teardown_ret = filesystem_gate_and_drain();
  if (teardown_ret == 0) {
    teardown_ret = shutdown_filesystem();
  }
  #if CONFIG_DISK_DRIVER_RAW_NAND
  set_read_only(true);
  #endif

  if (teardown_ret != 0 || filesystem_is_mounted()) {
    if (teardown_ret == 0) {
      teardown_ret = -EBUSY;
    }
    LOG_ERR("Startup filesystem teardown failed: %d", teardown_ret);
    ppg_collection_latch_storage_fault();
  } else if (identity_err != 0) {
    LOG_ERR("BLE advertising disabled because device identity is unavailable");
  } else if (uuid_ret != 0) {
    ppg_collection_latch_storage_fault();
  } else {
    #ifndef CONFIG_DEBUG
    if (!security_lock){
      ret = enable_usb_msc_host_media();
      if (ret != 0) {
        LOG_ERR("Unable to publish USB MSC medium: %d", ret);
        ppg_collection_latch_storage_fault();
      } else {
        boot_storage_ready = true;
      }
    } else {
      boot_storage_ready = true;
    }
    #else
    boot_storage_ready = true;
    #endif
  }

  if (boot_storage_ready) {
    ble_init();
  } else if (identity_err == 0 && uuid_ret == 0 &&
             teardown_ret == 0 && !filesystem_is_mounted() &&
             ppg_collection_faulted()) {
      LOG_ERR("BLE advertising disabled because boot storage is unavailable");
  }
  
  
  // we set global update at 9 so that when we are entering the while loop, we will check the storage & battery.
  int global_update = 9;
  int update_time = SLEEP_TIME_MS;
  
  
  while (1)
  {
    
    //printk("%d %d\n", connectedFlag, collecting_data);

    global_update++;
    if (global_update >= 100){
      global_update = 0;
    }

    if (global_update % 5 == 0){
      battery_maintenance();
      get_current_unix_time();
      LOG_INF("state: %d", k_work_busy_get(&accel_work_item.work));
      LOG_INF("connected: %d, collecting: %d", connectedFlag, collecting_data);
    }

    if (!connectedFlag){
    // blink the LED while we aren't connected.
      blink_led(LED_PIN);
    }
    else {
      // When Connected, LED instead only blinks once every 10 cycles
      if (global_update % 10 == 0){
        blink_led(LED_PIN);
      }
    }
      
    
    if (collecting_data){
        blink_led(LED1_PIN);
    }

    k_msleep(update_time);
    
  }
  return 0;
}
```

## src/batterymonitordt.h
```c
#include <zephyr/types.h>


/*** General Constant ***/
#define BQ274XX_UNSEAL_KEY 0x8000 /* Secret code to unseal the BQ27441-G1A */
#define BQ274XX_DEVICE_ID 0x0421 /* Default device ID */

/*** Standard Commands ***/
#define BQ274XX_COMMAND_CONTROL_LOW 0x00 /* Control() low register */
#define BQ274XX_COMMAND_CONTROL_HIGH 0x01 /* Control() high register */
#define BQ274XX_COMMAND_TEMP 0x02 /* Temperature() */
#define BQ274XX_COMMAND_VOLTAGE 0x04 /* Voltage() */
#define BQ274XX_COMMAND_FLAGS 0x06 /* Flags() */
#define BQ274XX_COMMAND_NOM_CAPACITY 0x08 /* NominalAvailableCapacity() */
#define BQ274XX_COMMAND_AVAIL_CAPACITY 0x0A /* FullAvailableCapacity() */
#define BQ274XX_COMMAND_REM_CAPACITY 0x0C /* RemainingCapacity() */
#define BQ274XX_COMMAND_FULL_CAPACITY 0x0E /* FullChargeCapacity() */
#define BQ274XX_COMMAND_AVG_CURRENT 0x10 /* AverageCurrent() */
#define BQ274XX_COMMAND_STDBY_CURRENT 0x12 /* StandbyCurrent() */
#define BQ274XX_COMMAND_MAX_CURRENT 0x14 /* MaxLoadCurrent() */
#define BQ274XX_COMMAND_AVG_POWER 0x18 /* AveragePower() */
#define BQ274XX_COMMAND_SOC 0x1C /* StateOfCharge() */
#define BQ274XX_COMMAND_INT_TEMP 0x1E /* InternalTemperature() */
#define BQ274XX_COMMAND_SOH 0x20 /* StateOfHealth() */
#define BQ274XX_COMMAND_REM_CAP_UNFL 0x28 /* RemainingCapacityUnfiltered() */
#define BQ274XX_COMMAND_REM_CAP_FIL 0x2A /* RemainingCapacityFiltered() */
#define BQ274XX_COMMAND_FULL_CAP_UNFL 0x2C /* FullChargeCapacityUnfiltered() */
#define BQ274XX_COMMAND_FULL_CAP_FIL 0x2E /* FullChargeCapacityFiltered() */
#define BQ274XX_COMMAND_SOC_UNFL 0x30 /* StateOfChargeUnfiltered() */

/*** Control Sub-Commands ***/
#define BQ274XX_CONTROL_STATUS 0x0000
#define BQ274XX_CONTROL_DEVICE_TYPE 0x0001
#define BQ274XX_CONTROL_FW_VERSION 0x0002
#define BQ274XX_CONTROL_DM_CODE 0x0004
#define BQ274XX_CONTROL_PREV_MACWRITE 0x0007
#define BQ274XX_CONTROL_CHEM_ID 0x0008
#define BQ274XX_CONTROL_BAT_INSERT 0x000C
#define BQ274XX_CONTROL_BAT_REMOVE 0x000D
#define BQ274XX_CONTROL_SET_HIBERNATE 0x0011
#define BQ274XX_CONTROL_CLEAR_HIBERNATE 0x0012
#define BQ274XX_CONTROL_SET_CFGUPDATE 0x0013
#define BQ274XX_CONTROL_SHUTDOWN_ENABLE 0x001B
#define BQ274XX_CONTROL_SHUTDOWN 0x001C
#define BQ274XX_CONTROL_SEALED 0x0020
#define BQ274XX_CONTROL_PULSE_SOC_INT 0x0023
#define BQ274XX_CONTROL_RESET 0x0041
#define BQ274XX_CONTROL_SOFT_RESET 0x0042
#define BQ274XX_CONTROL_EXIT_CFGUPDATE 0x0043
#define BQ274XX_CONTROL_EXIT_RESIM 0x0044

/*** Extended Data Commands ***/
#define BQ274XX_EXTENDED_OPCONFIG 0x3A /* OpConfig() */
#define BQ274XX_EXTENDED_CAPACITY 0x3C /* DesignCapacity() */
#define BQ274XX_EXTENDED_DATA_CLASS 0x3E /* DataClass() */
#define BQ274XX_EXTENDED_DATA_BLOCK 0x3F /* DataBlock() */
#define BQ274XX_EXTENDED_BLOCKDATA_START 0x40 /* BlockData_start() */
#define BQ274XX_EXTENDED_BLOCKDATA_END 0x5F /* BlockData_end() */
#define BQ274XX_EXTENDED_CHECKSUM 0x60 /* BlockDataCheckSum() */
#define BQ274XX_EXTENDED_DATA_CONTROL 0x61 /* BlockDataControl() */
#define BQ274XX_EXTENDED_BLOCKDATA_DESIGN_CAP_HIGH 0x4A /* BlockData */
#define BQ274XX_EXTENDED_BLOCKDATA_DESIGN_CAP_LOW 0x4B
#define BQ274XX_EXTENDED_BLOCKDATA_DESIGN_ENR_HIGH 0x4C
#define BQ274XX_EXTENDED_BLOCKDATA_DESIGN_ENR_LOW 0x4D
#define BQ274XX_EXTENDED_BLOCKDATA_TERMINATE_VOLT_HIGH 0x50
#define BQ274XX_EXTENDED_BLOCKDATA_TERMINATE_VOLT_LOW 0x51
#define BQ274XX_EXTENDED_BLOCKDATA_TAPERRATE_HIGH 0x5B
#define BQ274XX_EXTENDED_BLOCKDATA_TAPERRATE_LOW 0x5C




extern int battery_level;


void dt_update_battery(const struct device *dev, bool log_summary);





struct ble_battery_info {
    struct k_work work;
    uint8_t battery_value; // user-defined value to pass as input to the work-queue
}; // work queue structure used to execute Batter level notification in a interrupt service handler initiated by a timer. 
extern struct ble_battery_info my_battery ;  // work-queue instance for batter level
 int bq274xx_command_reg_read(uint8_t reg_addr, uint16_t* val);
 int bq274xx_control_reg_write(uint16_t subcommand);
 int bq274xx_command_reg_write( uint8_t command,
				     uint8_t data);
 int bq274xx_read_data_block( uint8_t offset,
				   uint8_t *data, uint8_t bytes);
 int bq274xx_get_device_type( uint16_t *val);
extern int bq274xx_gauge_init(struct bq274xx_config* batterMonitorConfig);
extern int bq274xx_sample_fetch(struct bq274xx_data *bq274xx, enum sensor_channel chan);
extern void bas_notify(struct k_work *);
```
